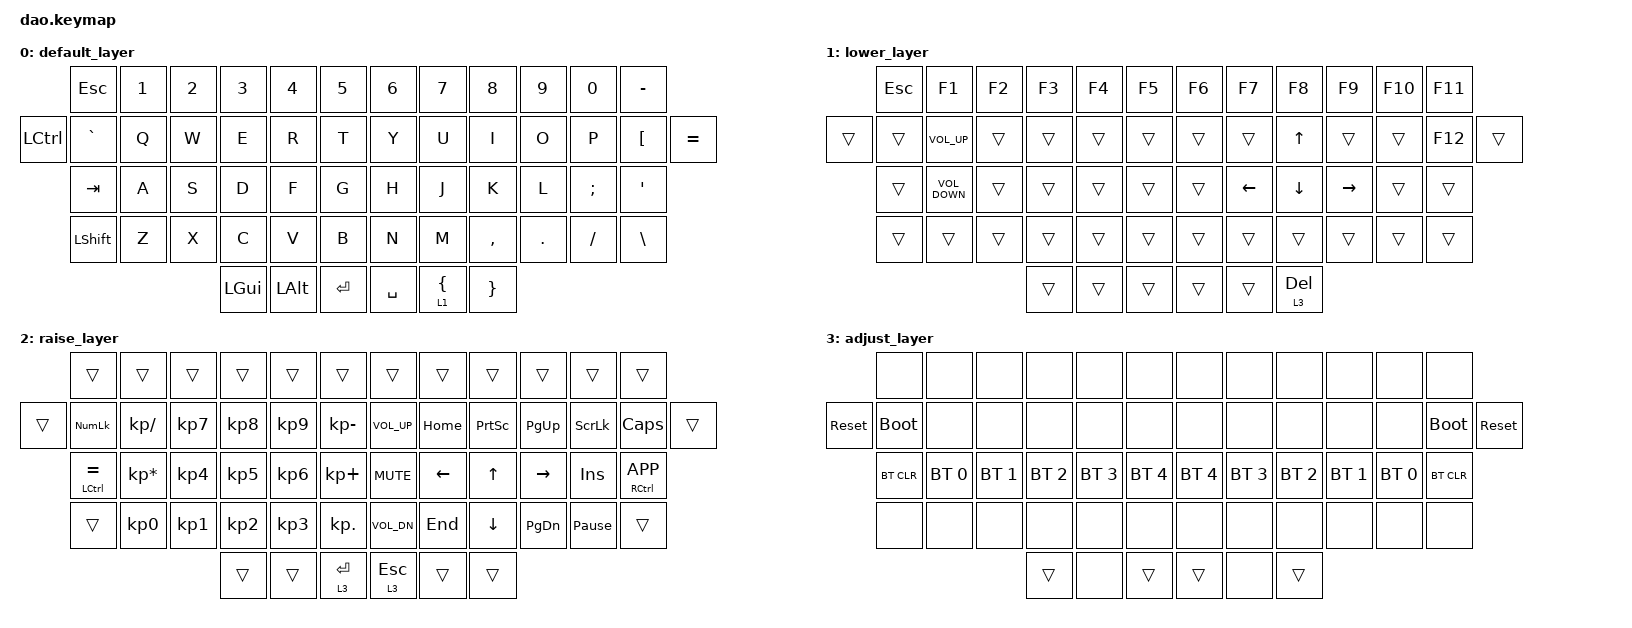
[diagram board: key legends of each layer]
/*
 * Copyright (c) 2021 Rafael Yumagulov
 *
 * SPDX-License-Identifier: MIT
 */

#include <behaviors.dtsi>
#include <dt-bindings/zmk/bt.h>
#include <dt-bindings/zmk/keys.h>

#define DEF 0
#define LWR 1
#define RSE 2
#define ADJ 3

&lt {
    quick_tap_ms = <200>;
};

&mt {
    quick_tap_ms = <200>;
};

/ {
    keymap {
        compatible = "zmk,keymap";

        default_layer {
            // -----------------------------------------------------------------------------------------
            // |  GUI |   ~  |  Q  |  W  |  E  |  R  |  T  |   |  Y  |  U   |  I  |  O  |  P  |  [   | GUI/] |
            //        | CTRL |  A  |  S  |  D  |  F  |  G  |   |  H  |  J   |  K  |  L  |  ;  |CTRL/'|
            //        | LALT |  Z  |  X  |  C  |  V  |  B  |   |  N  |  M   |  ,  |  .  |  /  | RALT |
            //                           | RSE | SPC | LWR |   | LWR | BKSP | RSE |

            bindings = <
                  &kp ESCAPE      &kp N1  &kp N2  &kp N3        &kp N4        &kp N5       &kp N6     &kp N7            &kp N8           &kp N9   &kp N0    &kp MINUS
&kp LEFT_CONTROL  &kp GRAVE       &kp Q   &kp W   &kp E         &kp R         &kp T        &kp Y      &kp U             &kp I            &kp O    &kp P     &kp LBKT       &kp EQUAL
                  &kp TAB         &kp A   &kp S   &kp D         &kp F         &kp G        &kp H      &kp J             &kp K            &kp L    &kp SEMI  &kp APOS
                  &kp LEFT_SHIFT  &kp Z   &kp X   &kp C         &kp V         &kp B        &kp N      &kp M             &kp COMMA        &kp DOT  &kp FSLH  &kp BACKSLASH
                                                  &kp LEFT_GUI  &kp LEFT_ALT  &kp ENTER    &kp SPACE  &lt 1 LEFT_BRACE  &kp RIGHT_BRACE
            >;
        };

        lower_layer {
            // -----------------------------------------------------------------------------------------
            // |     |  _  |  F1 |  F2 |  F3 |  F4 |  F5 |   |  F6 |  F7 |  F8 |  F9 | F10 | F11 | F12 |
            //       |  +  |  !  |  @  |  #  |  $  |  %  |   |  ^  |  &  |  *  |  (  |  )  |  -  |
            //       |  =  |  1  |  2  |  3  |  4  |  5  |   |  6  |  7  |  8  |  9  |  0  |     |
            //                    | GUI |     | SPC |   | ENT |     | ALT |

            bindings = <
        &kp ESCAPE  &kp F1             &kp F2  &kp F3  &kp F4  &kp F5    &kp F6  &kp F7          &kp F8          &kp F9           &kp F10  &kp F11
&trans  &trans      &kp C_VOL_UP       &trans  &trans  &trans  &trans    &trans  &trans          &kp UP_ARROW    &trans           &trans   &kp F12  &trans
        &trans      &kp C_VOLUME_DOWN  &trans  &trans  &trans  &trans    &trans  &kp LEFT_ARROW  &kp DOWN_ARROW  &kp RIGHT_ARROW  &trans   &trans
        &trans      &trans             &trans  &trans  &trans  &trans    &trans  &trans          &trans          &trans           &trans   &trans
                                               &trans  &trans  &trans    &trans  &trans          &lt 3 DEL
            >;
        };

        raise_layer {
            // -----------------------------------------------------------------------------------------
            // |     | NMLK |  /  |  7  |  8  |  9  |  -  |   | VOLU| HOME| PRSC| PGUP| SCLK| CLCK|     |
            //       | CTRL |  *  |  4  |  5  |  6  |  +  |   | MUT | LEFT|  UP | RGHT| INS | APP |
            //       |      |  0  |  1  |  2  |  3  |  .  |   | VOLD| END | DOWN| PGDN| PAUS|     |
            //                          |     |     | ADJ |   | ADJ |     |     |

            bindings = <
        &trans           &trans           &trans     &trans     &trans     &trans          &trans        &trans    &trans     &trans     &trans           &trans
&trans  &kp KP_NUM       &kp KP_SLASH     &kp KP_N7  &kp KP_N8  &kp KP_N9  &kp KP_MINUS    &kp C_VOL_UP  &kp HOME  &kp PSCRN  &kp PG_UP  &kp SLCK         &kp CAPS         &trans
        &mt LCTRL EQUAL  &kp KP_MULTIPLY  &kp KP_N4  &kp KP_N5  &kp KP_N6  &kp KP_PLUS     &kp C_MUTE    &kp LEFT  &kp UP     &kp RIGHT  &kp INS          &mt RCTRL K_APP
        &trans           &kp KP_N0        &kp KP_N1  &kp KP_N2  &kp KP_N3  &kp KP_DOT      &kp C_VOL_DN  &kp END   &kp DOWN   &kp PG_DN  &kp PAUSE_BREAK  &trans
                                                     &trans     &trans     &lt 3 RET       &lt 3 ESC     &trans    &trans
            >;
        };

        adjust_layer {
            // -----------------------------------------------------------------------------------------
            // | RST | BLDR |     |     |     |     |     |   |     |     |     |     |     | BLDR | RST |
            //       | BTCLR| BT0 | BT1 | BT2 | BT3 | BT4 |   | BT4 | BT3 | BT2 | BT1 | BT0 | BTCLR|
            //       |      |     |     |     |     |     |   |     |     |     |     |     |      |
            //                          |     |     |     |   |     |     |     |

            bindings = <
            &none        &none         &none         &none         &none         &none           &none         &none         &none         &none         &none         &none
&sys_reset  &bootloader  &none         &none         &none         &none         &none           &none         &none         &none         &none         &none         &bootloader  &sys_reset
            &bt BT_CLR   &bt BT_SEL 0  &bt BT_SEL 1  &bt BT_SEL 2  &bt BT_SEL 3  &bt BT_SEL 4    &bt BT_SEL 4  &bt BT_SEL 3  &bt BT_SEL 2  &bt BT_SEL 1  &bt BT_SEL 0  &bt BT_CLR
            &none        &none         &none         &none         &none         &none           &none         &none         &none         &none         &none         &none
                                                     &trans        &none         &trans          &trans        &none         &trans
            >;
        };
    };
};
